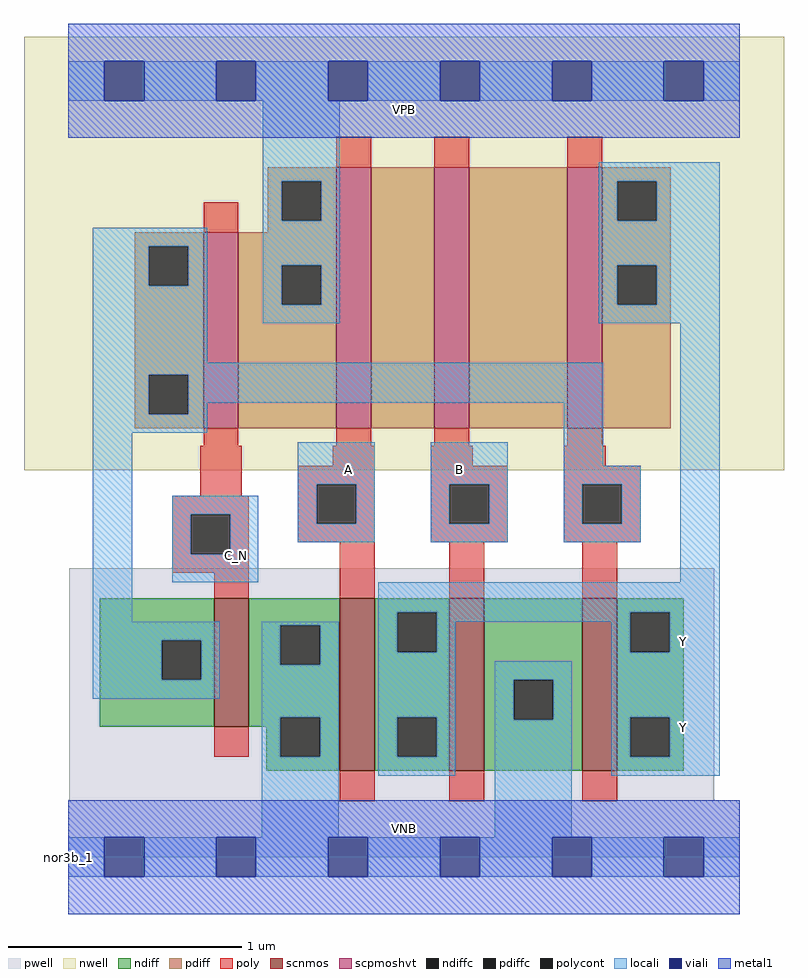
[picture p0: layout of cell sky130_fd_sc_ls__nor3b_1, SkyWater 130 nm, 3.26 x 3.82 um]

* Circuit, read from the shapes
.subckt sky130_fd_sc_ls__nor3b_1 A B C_N VGND VNB VPB VPWR Y
XM1 VGND C_N n1 VNB sky130_fd_pr__nfet_01v8 w=0.55 l=0.15
XM2 Y A VGND VNB sky130_fd_pr__nfet_01v8 w=0.74 l=0.15
XM3 VGND B Y VNB sky130_fd_pr__nfet_01v8 w=0.74 l=0.15
XM4 Y n1 VGND VNB sky130_fd_pr__nfet_01v8 w=0.74 l=0.15
XM5 VPWR C_N n1 VPB sky130_fd_pr__pfet_01v8_hvt w=0.84 l=0.15
XM6 n2 A VPWR VPB sky130_fd_pr__pfet_01v8_hvt w=1.12 l=0.15
XM7 n3 B n2 VPB sky130_fd_pr__pfet_01v8_hvt w=1.12 l=0.15
XM8 Y n1 n3 VPB sky130_fd_pr__pfet_01v8_hvt w=1.12 l=0.15
.ends

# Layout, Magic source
magic
tech sky130A
magscale 1 2
<< nwell >>
rect -38 332 614 704
<< pwell >>
rect 1 49 554 248
rect 0 0 576 49
<< scnmos >>
rect 125 112 155 222
rect 233 74 263 222
rect 327 74 357 222
rect 441 74 471 222
<< scpmoshvt >>
rect 116 368 146 536
rect 230 368 260 592
rect 314 368 344 592
rect 428 368 458 592
<< ndiff >>
rect 27 186 125 222
rect 27 152 80 186
rect 114 152 125 186
rect 27 112 125 152
rect 155 199 233 222
rect 155 165 182 199
rect 216 165 233 199
rect 155 120 233 165
rect 155 112 182 120
rect 170 86 182 112
rect 216 86 233 120
rect 170 74 233 86
rect 263 210 327 222
rect 263 176 282 210
rect 316 176 327 210
rect 263 120 327 176
rect 263 86 282 120
rect 316 86 327 120
rect 263 74 327 86
rect 357 152 441 222
rect 357 118 382 152
rect 416 118 441 152
rect 357 74 441 118
rect 471 210 528 222
rect 471 176 482 210
rect 516 176 528 210
rect 471 120 528 176
rect 471 86 482 120
rect 516 86 528 120
rect 471 74 528 86
<< pdiff >>
rect 171 580 230 592
rect 171 546 183 580
rect 217 546 230 580
rect 171 536 230 546
rect 57 524 116 536
rect 57 490 69 524
rect 103 490 116 524
rect 57 414 116 490
rect 57 380 69 414
rect 103 380 116 414
rect 57 368 116 380
rect 146 508 230 536
rect 146 474 183 508
rect 217 474 230 508
rect 146 368 230 474
rect 260 368 314 592
rect 344 368 428 592
rect 458 580 517 592
rect 458 546 471 580
rect 505 546 517 580
rect 458 508 517 546
rect 458 474 471 508
rect 505 474 517 508
rect 458 368 517 474
<< ndiffc >>
rect 80 152 114 186
rect 182 165 216 199
rect 182 86 216 120
rect 282 176 316 210
rect 282 86 316 120
rect 382 118 416 152
rect 482 176 516 210
rect 482 86 516 120
<< pdiffc >>
rect 183 546 217 580
rect 69 490 103 524
rect 69 380 103 414
rect 183 474 217 508
rect 471 546 505 580
rect 471 474 505 508
<< poly >>
rect 230 592 260 618
rect 314 592 344 618
rect 428 592 458 618
rect 116 536 146 562
rect 116 353 146 368
rect 230 353 260 368
rect 314 353 344 368
rect 428 353 458 368
rect 113 310 149 353
rect 227 336 263 353
rect 197 320 263 336
rect 89 294 155 310
rect 89 260 105 294
rect 139 260 155 294
rect 197 286 213 320
rect 247 286 263 320
rect 197 270 263 286
rect 311 336 347 353
rect 425 336 461 353
rect 311 320 377 336
rect 311 286 327 320
rect 361 286 377 320
rect 311 270 377 286
rect 425 320 491 336
rect 425 286 441 320
rect 475 286 491 320
rect 425 270 491 286
rect 89 244 155 260
rect 125 222 155 244
rect 233 222 263 270
rect 327 222 357 270
rect 441 222 471 270
rect 125 86 155 112
rect 233 48 263 74
rect 327 48 357 74
rect 441 48 471 74
<< polycont >>
rect 105 260 139 294
rect 213 286 247 320
rect 327 286 361 320
rect 441 286 475 320
<< locali >>
rect 0 649 31 683
rect 65 649 127 683
rect 161 649 223 683
rect 257 649 319 683
rect 353 649 415 683
rect 449 649 511 683
rect 545 649 576 683
rect 167 580 233 649
rect 167 546 183 580
rect 217 546 233 580
rect 21 524 119 540
rect 21 490 69 524
rect 103 490 119 524
rect 21 424 119 490
rect 167 508 233 546
rect 167 474 183 508
rect 217 474 233 508
rect 167 458 233 474
rect 455 580 559 596
rect 455 546 471 580
rect 505 546 559 580
rect 455 508 559 546
rect 455 474 471 508
rect 505 474 559 508
rect 455 458 559 474
rect 21 414 459 424
rect 21 380 69 414
rect 103 390 459 414
rect 103 380 119 390
rect 21 364 119 380
rect 21 202 55 364
rect 197 320 263 356
rect 89 294 163 310
rect 89 260 105 294
rect 139 260 163 294
rect 197 286 213 320
rect 247 286 263 320
rect 197 270 263 286
rect 311 320 377 356
rect 311 286 327 320
rect 361 286 377 320
rect 311 270 377 286
rect 425 336 459 390
rect 425 320 491 336
rect 425 286 441 320
rect 475 286 491 320
rect 425 270 491 286
rect 89 236 163 260
rect 525 236 559 458
rect 266 210 559 236
rect 21 186 130 202
rect 21 152 80 186
rect 114 152 130 186
rect 21 136 130 152
rect 166 199 232 202
rect 166 165 182 199
rect 216 165 232 199
rect 166 120 232 165
rect 166 86 182 120
rect 216 86 232 120
rect 166 17 232 86
rect 266 176 282 210
rect 316 202 482 210
rect 316 176 332 202
rect 266 120 332 176
rect 466 176 482 202
rect 516 176 559 210
rect 266 86 282 120
rect 316 86 332 120
rect 266 70 332 86
rect 366 152 432 168
rect 366 118 382 152
rect 416 118 432 152
rect 366 17 432 118
rect 466 120 559 176
rect 466 86 482 120
rect 516 86 559 120
rect 466 70 559 86
rect 0 -17 31 17
rect 65 -17 127 17
rect 161 -17 223 17
rect 257 -17 319 17
rect 353 -17 415 17
rect 449 -17 511 17
rect 545 -17 576 17
<< viali >>
rect 31 649 65 683
rect 127 649 161 683
rect 223 649 257 683
rect 319 649 353 683
rect 415 649 449 683
rect 511 649 545 683
rect 31 -17 65 17
rect 127 -17 161 17
rect 223 -17 257 17
rect 319 -17 353 17
rect 415 -17 449 17
rect 511 -17 545 17
<< metal1 >>
rect 0 683 576 715
rect 0 649 31 683
rect 65 649 127 683
rect 161 649 223 683
rect 257 649 319 683
rect 353 649 415 683
rect 449 649 511 683
rect 545 649 576 683
rect 0 617 576 649
rect 0 17 576 49
rect 0 -17 31 17
rect 65 -17 127 17
rect 161 -17 223 17
rect 257 -17 319 17
rect 353 -17 415 17
rect 449 -17 511 17
rect 545 -17 576 17
rect 0 -49 576 -17
<< labels >>
rlabel comment s 0 0 0 0 4 nor3b_1
flabel pwell s 0 0 576 49 0 FreeSans 200 0 0 0 VNB
port 5 nsew ground bidirectional
flabel nwell s 0 617 576 666 0 FreeSans 200 0 0 0 VPB
port 6 nsew power bidirectional
flabel metal1 s 0 617 576 666 0 FreeSans 340 0 0 0 VPWR
port 7 nsew power bidirectional abutment
flabel metal1 s 0 0 576 49 0 FreeSans 340 0 0 0 VGND
port 4 nsew ground bidirectional abutment
flabel locali s 511 94 545 128 0 FreeSans 340 0 0 0 Y
port 8 nsew signal output
flabel locali s 511 168 545 202 0 FreeSans 340 0 0 0 Y
port 8 nsew signal output
flabel locali s 127 242 161 276 0 FreeSans 340 0 0 0 C_N
port 3 nsew signal input
flabel locali s 223 316 257 350 0 FreeSans 340 0 0 0 A
port 1 nsew signal input
flabel locali s 319 316 353 350 0 FreeSans 340 0 0 0 B
port 2 nsew signal input
<< properties >>
string LEFsite unit
string LEFclass CORE
string FIXED_BBOX 0 0 576 666
string GDS_FILE $PDKPATH/libs.ref/sky130_fd_sc_ls/gds/sky130_fd_sc_ls.gds
string LEFsymmetry X Y
string GDS_END 1410368
string GDS_START 1405162
<< end >>
